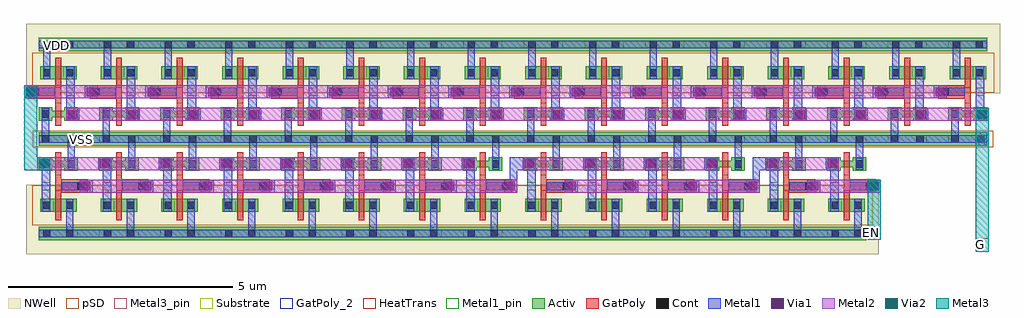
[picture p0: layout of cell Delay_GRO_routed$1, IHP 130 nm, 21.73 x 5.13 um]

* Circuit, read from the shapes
.subckt Delay_GRO_routed$1 EN G VDD VSS
XM1 VSS Delay_GRO_placement$1_0/INV_D1$7$1_1_10/VIN Delay_GRO_placement$1_0/INV_D1$7$1_0_0/VIN VSS sg13_lv_nmos w=0.15u l=0.13u m=8
XM2 G Delay_GRO_placement$1_0/INV_D1$7$1_0_0/VIN VSS VSS sg13_lv_nmos w=0.15u l=0.13u m=16
XM3 VSS Delay_GRO_placement$1_0/INV_D1$7$1_1_2/VIN Delay_GRO_placement$1_0/INV_D1$7$1_1_10/VIN VSS sg13_lv_nmos w=0.15u l=0.13u m=4
XM4 VSS EN Delay_GRO_placement$1_0/INV_D1$7$1_1_2/VIN VSS sg13_lv_nmos w=0.15u l=0.13u m=2
XM5 VDD Delay_GRO_placement$1_0/INV_D1$7$1_1_10/VIN Delay_GRO_placement$1_0/INV_D1$7$1_0_0/VIN VDD sg13_lv_pmos w=0.3u l=0.13u m=8
XM6 G Delay_GRO_placement$1_0/INV_D1$7$1_0_0/VIN VDD VDD sg13_lv_pmos w=0.3u l=0.13u m=16
XM7 VDD Delay_GRO_placement$1_0/INV_D1$7$1_1_2/VIN Delay_GRO_placement$1_0/INV_D1$7$1_1_10/VIN VDD sg13_lv_pmos w=0.3u l=0.13u m=4
XM8 VDD EN Delay_GRO_placement$1_0/INV_D1$7$1_1_2/VIN VDD sg13_lv_pmos w=0.3u l=0.13u m=2
.ends

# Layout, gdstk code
from math import pi, radians
import gdstk
lib = gdstk.Library(unit=1e-6, precision=5e-09)
def R(c, l, rs):  # rectangles x0, y0, x1, y1
    for r in rs: c.add(gdstk.rectangle(r[:2], r[2:], *l))
Activ = (1, 0)
GatPoly = (5, 0)
GatPoly_2 = (5, 2)
Cont = (6, 0)
Metal1 = (8, 0)
Metal1_pin = (8, 2)
Metal2 = (10, 0)
pSD = (14, 0)
Via1 = (19, 0)
Via2 = (29, 0)
Metal3 = (30, 0)
Metal3_pin = (30, 2)
NWell = (31, 0)
Substrate = (40, 0)
HeatTrans = (51, 0)

nmos_11_1 = lib.new_cell('nmos$11$1')
R(nmos_11_1, Activ, [(0,0,0.3,0.3), (0.57,0,0.87,0.3), (0,0.075,0.87,0.225)])
R(nmos_11_1, GatPoly, [(0.37,-0.105,0.5,0.405)])
R(nmos_11_1, GatPoly_2, [(0.37,-0.105,0.5,0.405)])
R(nmos_11_1, Cont, [(0.07,0.07,0.23,0.23), (0.64,0.07,0.8,0.23)])
R(nmos_11_1, Metal1, [(0.07,0.02,0.23,0.28), (0.64,0.02,0.8,0.28)])
R(nmos_11_1, Metal1_pin, [(0.07,0.02,0.23,0.28), (0.64,0.02,0.8,0.28)])
R(nmos_11_1, HeatTrans, [(0.37,-0.105,0.5,0.405)])
nmos_11_1.add(gdstk.Label('nmos', (0.435,0.15), layer=63, texttype=0))
nmos_11_1.add(gdstk.Label('nmos', (0.435,0.15), layer=51, texttype=0))

pmos_1_7_1 = lib.new_cell('pmos$1$7$1')
R(pmos_1_7_1, Activ, [(0,0,0.3,0.3), (0,0,0.81,0.3), (0.51,0,0.81,0.3)])
R(pmos_1_7_1, GatPoly, [(0.34,-0.18,0.47,0.48), (0.34,-0.18,0.47,0.48)])
R(pmos_1_7_1, Cont, [(0.07,0.07,0.23,0.23), (0.58,0.07,0.74,0.23)])
R(pmos_1_7_1, Metal1, [(0.07,0,0.23,0.3), (0.07,0,0.23,0.3), (0.58,0,0.74,0.3), (0.58,0,0.74,0.3)])
R(pmos_1_7_1, pSD, [(-0.18,-0.3,0.99,0.6)])
R(pmos_1_7_1, NWell, [(-0.31,-0.31,1.12,0.61)])
R(pmos_1_7_1, Substrate, [(0.51,0,0.81,0.3)])
R(pmos_1_7_1, HeatTrans, [(0.34,-0.18,0.47,0.48)])
pmos_1_7_1.add(gdstk.Label('pmos', (0.405,0.15), layer=63, texttype=0))
pmos_1_7_1.add(gdstk.Label('pmos', (0.405,0.15), layer=51, texttype=0))

via1_constraint_9_1 = lib.new_cell('Via1_constraint$9$1')
R(via1_constraint_9_1, Metal1, [(0,0,0.29,0.29)])
R(via1_constraint_9_1, Metal2, [(0,0,0.29,0.29)])
R(via1_constraint_9_1, Via1, [(0.05,0.05,0.24,0.24)])

inv_d1_7_1 = lib.new_cell('INV_D1$7$1')
R(inv_d1_7_1, Activ, [(0.28,0.03,1.15,0.33), (0.28,2.135,1.15,2.435)])
R(inv_d1_7_1, GatPoly, [(0.06,1.08,0.65,1.38), (0.65,1.11,0.78,1.325)])
R(inv_d1_7_1, GatPoly_2, [(0.06,1.08,0.65,1.38)])
R(inv_d1_7_1, Cont, [(0.35,0.1,0.51,0.26), (0.92,0.1,1.08,0.26), (0.13,1.15,0.29,1.31), (0.38,2.205,0.54,2.365), (0.89,2.205,1.05,2.365)])
R(inv_d1_7_1, Metal1, [(0.28,0.1,1.15,0.26), (0.07,1.14,0.64,1.32), (0.28,2.205,1.15,2.365)])
R(inv_d1_7_1, Metal1_pin, [(0.28,0.1,1.15,0.26), (0.07,1.14,0.64,1.32), (0.89,1.14,1.08,1.32), (0.28,2.205,1.15,2.365)])
R(inv_d1_7_1, pSD, [(0.15,0,1.28,0.36)])
R(inv_d1_7_1, NWell, [(0,2.115,1.43,2.745)])
R(inv_d1_7_1, Substrate, [(0.82,1.505,1.12,1.805)])
inv_d1_7_1.add(gdstk.FlexPath([(0.46,1.805),(0.46,2.365)], 0.16, ends="flush", simple_path=True, layer=8, datatype=0))  # Metal1
inv_d1_7_1.add(gdstk.FlexPath([(0.985,0.585),(0.985,1.805)], 0.19, ends="flush", simple_path=True, layer=8, datatype=0))  # Metal1
inv_d1_7_1.add(gdstk.FlexPath([(0.43,0.865),(0.43,0.1)], 0.16, ends="flush", simple_path=True, layer=8, datatype=0))  # Metal1
inv_d1_7_1.add(gdstk.FlexPath([(0.715,1.11),(0.715,0.99)], 0.13, ends="flush", simple_path=True, layer=5, datatype=0))  # GatPoly
inv_d1_7_1.add(gdstk.Reference(nmos_11_1, (0.28,0.585)))
inv_d1_7_1.add(gdstk.Reference(pmos_1_7_1, (0.31,1.505)))
inv_d1_7_1.add(gdstk.Reference(via1_constraint_9_1, (-0.05,1.085)))
inv_d1_7_1.add(gdstk.Reference(via1_constraint_9_1, (0.89,0.585)))
inv_d1_7_1.add(gdstk.Label('nmos', (0.715,0.655), layer=63, texttype=0))
inv_d1_7_1.add(gdstk.Label('VIN', (0.285,1.175), layer=8, texttype=25))
inv_d1_7_1.add(gdstk.Label('VOUT', (1.03,1.165), layer=8, texttype=25))
inv_d1_7_1.add(gdstk.Label('VDD', (0.655,2.28), layer=8, texttype=25))
inv_d1_7_1.add(gdstk.Label('VSS', (0.65,0.175), layer=8, texttype=25))

delay_gro_placement_1 = lib.new_cell('Delay_GRO_placement$1')
r = gdstk.Reference(inv_d1_7_1, (0,2.315)); r.repetition = gdstk.Repetition(16, 1, v1=(1.35,0), v2=(0,0)); delay_gro_placement_1.add(r)
r = gdstk.Reference(inv_d1_7_1, (18.98,2.675), rotation=pi); r.repetition = gdstk.Repetition(14, 1, v1=(-1.35,0), v2=(0,0)); delay_gro_placement_1.add(r)

via2_constraint_11_1 = lib.new_cell('Via2_constraint$11$1')
R(via2_constraint_11_1, Metal2, [(0,0,0.29,0.29)])
R(via2_constraint_11_1, Via2, [(0.05,0.05,0.24,0.24)])
R(via2_constraint_11_1, Metal3, [(0,0,0.29,0.29)])

delay_gro_routed_1 = lib.new_cell('Delay_GRO_routed$1')
R(delay_gro_routed_1, Activ, [(0.33,0.73,18.1,1.03), (0.33,2.835,21.45,3.135), (0.33,4.94,21.45,5.24)])
R(delay_gro_routed_1, Metal1, [(0.33,0.8,18.1,0.96), (10.82,1.79,10.98,2.58), (16.22,1.79,16.38,2.58), (10.82,2.29,11.39,2.58), (16.22,2.29,16.79,2.58), (0.33,2.905,21.45,3.065), (0.33,5.01,21.45,5.17)])
R(delay_gro_routed_1, Metal2, [(1.24,1.79,10.98,2.08), (12.04,1.79,16.38,2.08), (17.44,1.79,19.08,2.08), (0.3,2.29,10.04,2.58), (11.105,2.29,15.445,2.58), (16.5,2.29,18.14,2.58), (0.94,3.39,21.48,3.68), (0,3.89,20.54,4.18)])
R(delay_gro_routed_1, pSD, [(0.18,1.06,18.25,1.96), (0.2,2.805,21.58,3.165), (0.18,4.01,21.6,4.91)])
R(delay_gro_routed_1, Metal3, [(21.19,0.48,21.48,3.685), (18.79,0.745,19.08,2.08), (0,2.29,0.29,4.18), (0,2.29,0.59,2.58)])
R(delay_gro_routed_1, Metal3_pin, [(21.19,0.48,21.48,0.77), (18.79,0.745,19.08,1.035)])
delay_gro_routed_1.add(gdstk.Reference(delay_gro_placement_1, (0.05,0.49)))
delay_gro_routed_1.add(gdstk.Reference(via2_constraint_11_1, (21.19,3.39)))
delay_gro_routed_1.add(gdstk.Reference(via2_constraint_11_1, (0,3.89)))
delay_gro_routed_1.add(gdstk.Reference(via2_constraint_11_1, (0.3,2.29)))
delay_gro_routed_1.add(gdstk.Reference(via2_constraint_11_1, (18.79,1.79)))
delay_gro_routed_1.add(gdstk.Label('VDD', (0.73,5.065), layer=8, texttype=25))
delay_gro_routed_1.add(gdstk.Label('VSS', (1.27,2.97), layer=8, texttype=25))
delay_gro_routed_1.add(gdstk.Label('EN', (18.88,0.9), layer=30, texttype=25))
delay_gro_routed_1.add(gdstk.Label('G', (21.295,0.635), layer=30, texttype=25))

lib.write_gds('Delay_GRO_routed_1.gds')
